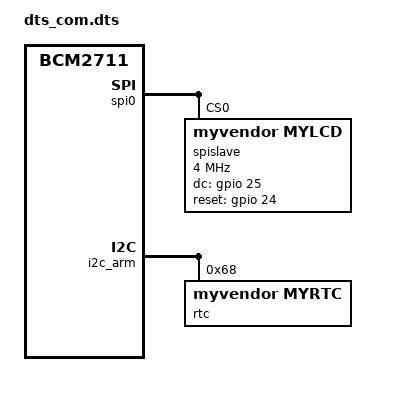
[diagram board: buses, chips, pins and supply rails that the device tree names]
/dts-v1/;                        // device tree version
/plugin/;                        // enable device tree overlay support

/ {
    compatible = "brcm,bcm2711"; // target SoC (Raspberry Pi 4)

    /* ================= SPI LCD fragment ================= */
    fragment@0 {
        target = <&spi0>;         // attach overlay to SPI0 controller

        __overlay__ {
            #address-cells = <1>; // one cell for SPI device address
            #size-cells = <0>;    // no size cell needed

            spislave@0 {          // SPI device on chip select 0
                compatible = "myvendor,mylcd";   // matches LCD SPI driver
                reg = <0>;                       // CE0 of SPI
                spi-max-frequency = <4000000>;   // 4 MHz safe for ILI9225
                status = "okay";                 // enable device

                dc-gpios = <&gpio 25 0>;         // DC pin connected to GPIO25
                reset-gpios = <&gpio 24 0>;      // RESET pin connected to GPIO24
            };
        };
    };

    /* ================= I2C RTC fragment ================= */
    fragment@1 {
        target = <&i2c_arm>;       // attach overlay to I2C controller

        __overlay__ {
            #address-cells = <1>;  // one cell for I2C address
            #size-cells = <0>;     // no size cell needed

            rtc@68 {               // RTC device at I2C address 0x68
                compatible = "myvendor,myrtc";   // matches RTC I2C driver
                reg = <0x68>;                    // DS3231 I2C address
                status = "okay";                 // enable device
            };
        };
    };
};
